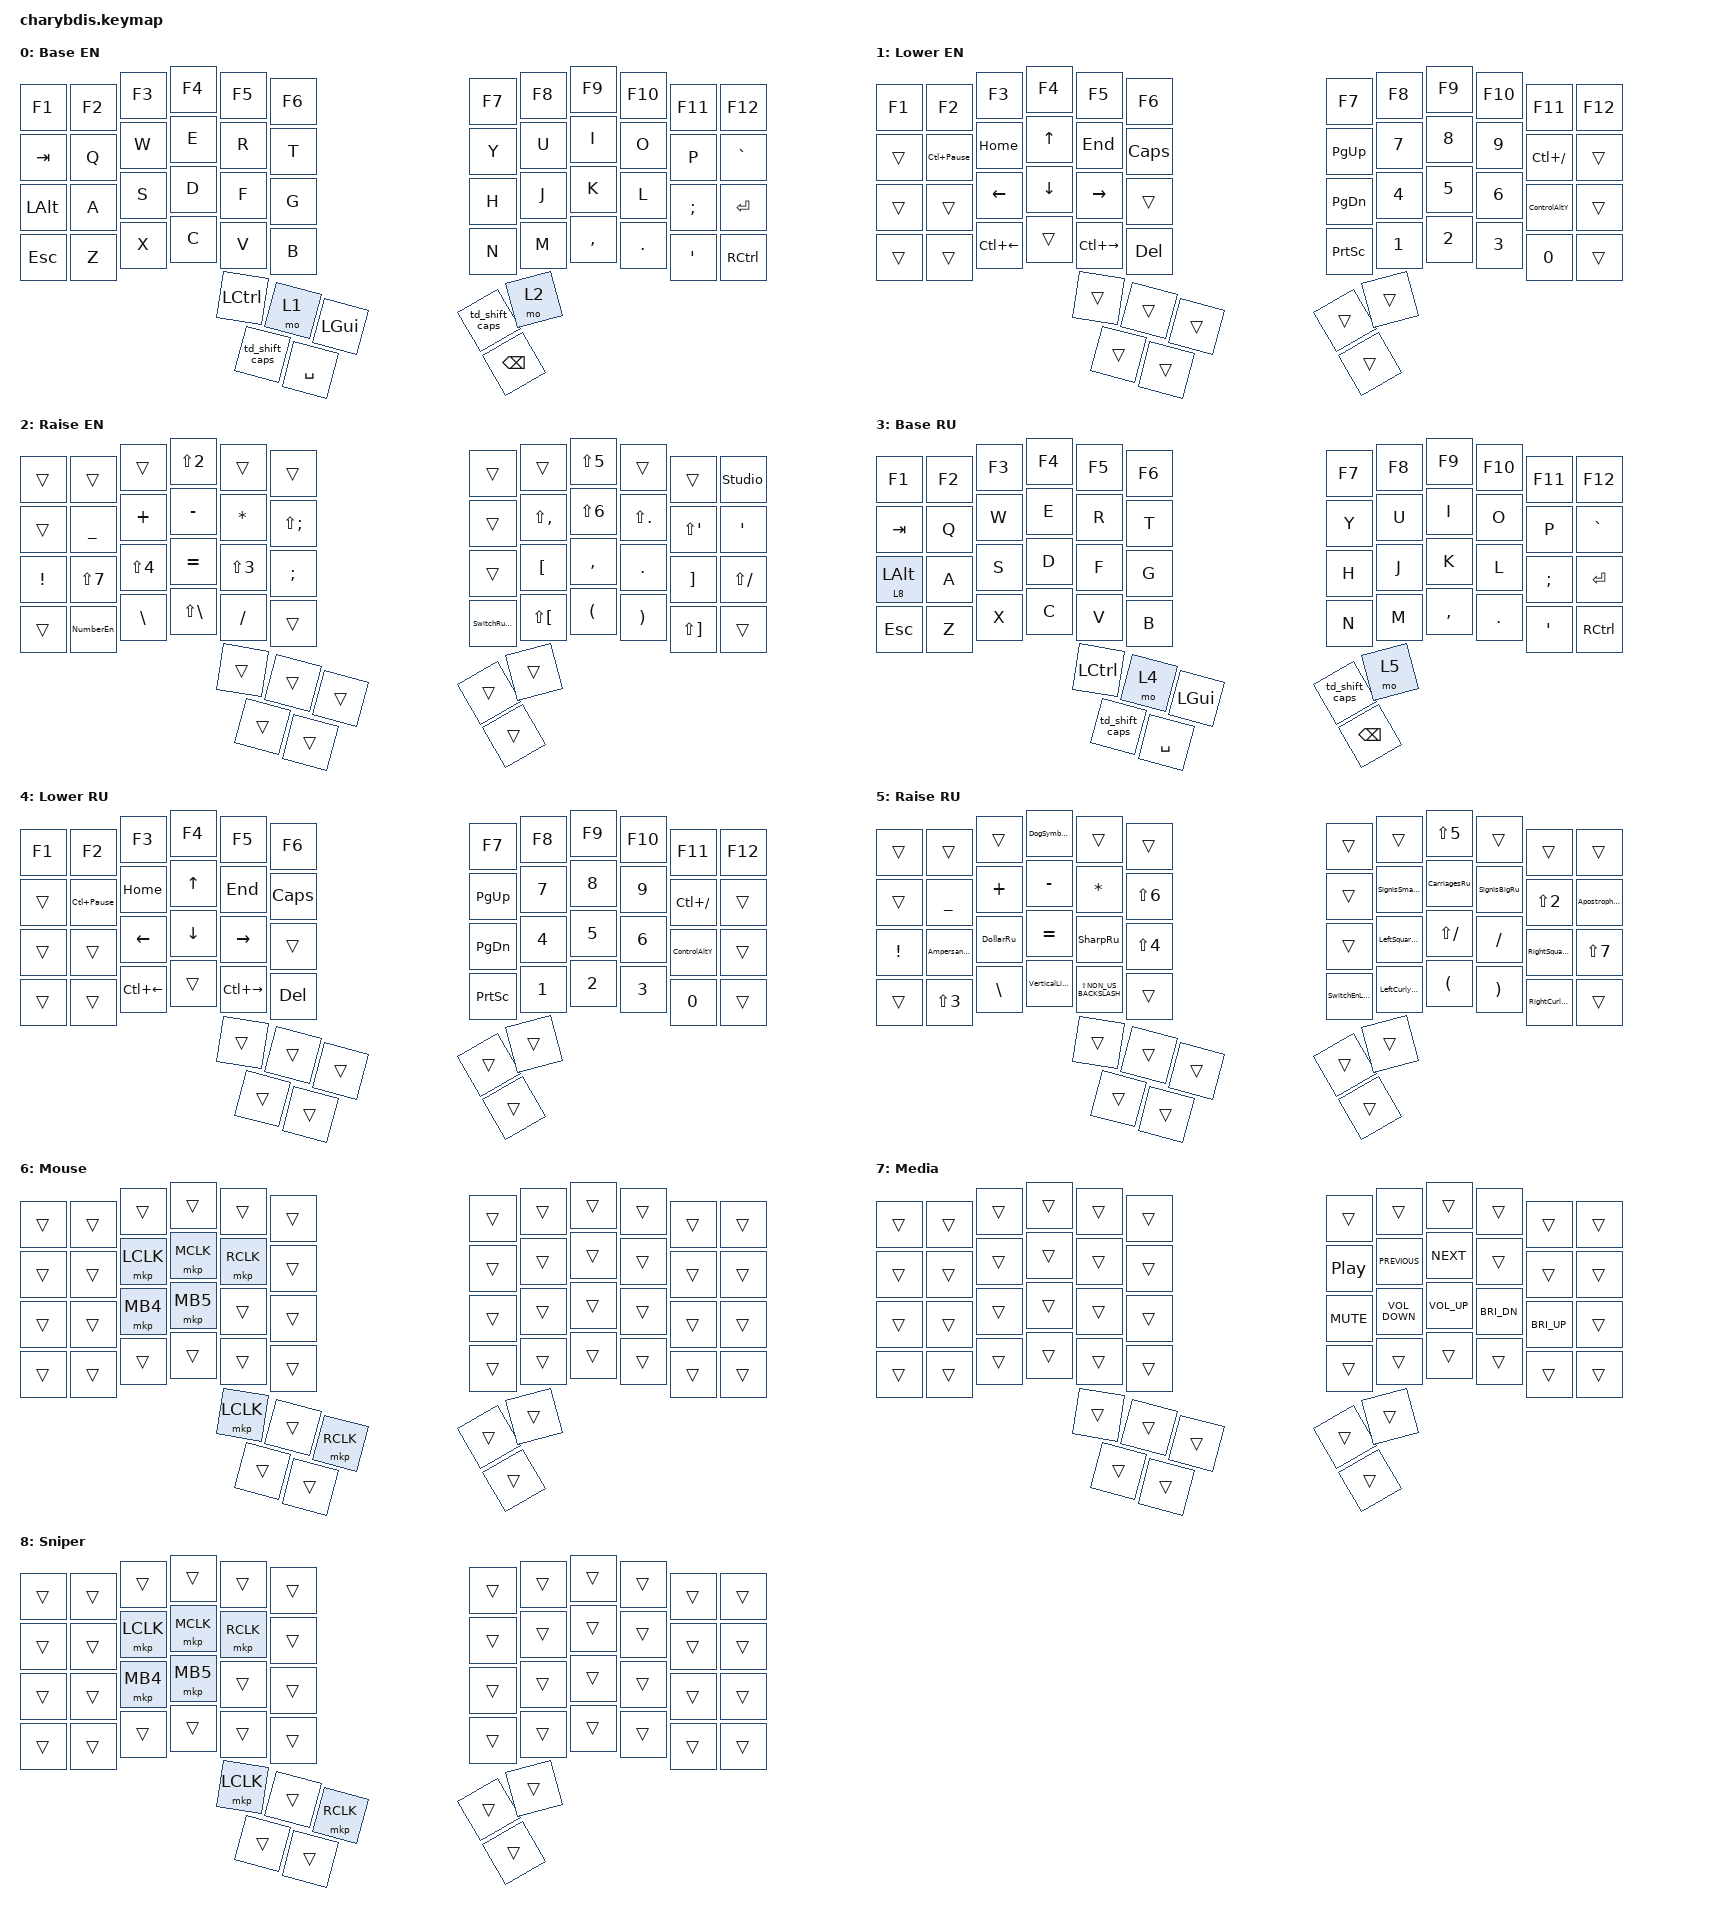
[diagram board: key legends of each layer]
#include <dt-bindings/zmk/mouse.h>
#include <dt-bindings/zmk/input_transform.h>
#include <behaviors.dtsi>
#include <dt-bindings/zmk/bt.h>
#include <dt-bindings/zmk/keys.h>
#include <dt-bindings/zmk/pointing.h>

/ {
    combos {
        compatible = "zmk,combos";

        bootloaderLeft {
            bindings = <&bootloader>;
            key-positions = <0 13>;
            require-prior-idle-ms = <2000>;
            timeout-ms = <30>;
        };

        bootloaderRight {
            bindings = <&bootloader>;
            key-positions = <11 22>;
            require-prior-idle-ms = <2000>;
            timeout-ms = <30>;
        };

        resetLeft {
            bindings = <&sys_reset>;
            key-positions = <0 12>;
            require-prior-idle-ms = <2000>;
            timeout-ms = <30>;
        };

        resetRight {
            bindings = <&sys_reset>;
            key-positions = <11 23>;
            require-prior-idle-ms = <2000>;
            timeout-ms = <30>;
        };

        btProfile0 {
            bindings = <&bt BT_SEL 0>;
            key-positions = <1 13>;
        };

        btProfile1 {
            bindings = <&bt BT_SEL 1>;
            key-positions = <2 14>;
        };

        btProfile2 {
            bindings = <&bt BT_SEL 2>;
            key-positions = <3 15>;
        };

        btClear {
            bindings = <&bt BT_CLR>;
            key-positions = <4 16>;
        };

        studioUnlock {
            bindings = <&studio_unlock>;
            key-positions = <0 4>;
            require-prior-idle-ms = <1000>;
            timeout-ms = <50>;
        };

        // х (LEFT_BRACKET in Russian layout)

        ruKha {
            bindings = <&kp LEFT_BRACKET>;
            key-positions = <27 28>;
            layers = <3 4 5>;
            timeout-ms = <50>;
            require-prior-idle-ms = <100>;
        };

        // ъ (RIGHT_BRACKET in Russian layout)

        ruHardSign {
            bindings = <&kp RIGHT_BRACKET>;
            key-positions = <31 32>;
            layers = <3 4 5>;
            timeout-ms = <50>;
            require-prior-idle-ms = <100>;
        };
    };

    behaviors {
        lt: layer_tap {
            compatible = "zmk,behavior-hold-tap";
            #binding-cells = <2>;
            flavor = "balanced";
            tapping-term-ms = <200>;
            quick-tap-ms = <150>;
            require-prior-idle-ms = <150>;
            bindings = <&mo>, <&kp>;
        };

        // Double-tap Shift = Caps Word (caps lock на 1 слово)

        td_shift_caps: tap_dance_shift_caps {
            compatible = "zmk,behavior-tap-dance";
            #binding-cells = <0>;
            tapping-term-ms = <200>;
            bindings = <&kp LEFT_SHIFT>, <&caps_word>;
        };

        // Alt + Sniper: tap = Alt, hold = Sniper layer

        alt_sniper: alt_sniper {
            compatible = "zmk,behavior-hold-tap";
            #binding-cells = <2>;
            flavor = "balanced";
            tapping-term-ms = <200>;
            quick-tap-ms = <150>;
            bindings = <&mo>, <&kp>;
        };
    };

    macros {
        default-wait-ms = <25>;
        default-tap-ms = <15>;

        ControlAltY: ControlAltY {
            compatible = "zmk,behavior-macro";
            #binding-cells = <0>;
            bindings =
                <&macro_press>,
                <&kp LEFT_CONTROL &kp LALT>,
                <&macro_tap>,
                <&kp E>,
                <&macro_release>,
                <&kp LEFT_CONTROL &kp LALT>;

        };

        DogSymbolRu: DogSymbolRu {
            compatible = "zmk,behavior-macro";
            #binding-cells = <0>;
            bindings =
                <&macro_tap>,
                <&kp LG(SPACE)>,
                <&macro_tap>,
                <&kp LS(NUMBER_2)>,
                <&macro_tap>,
                <&kp LG(SPACE)>;

        };

        DollarRu: DollarRu {
            compatible = "zmk,behavior-macro";
            #binding-cells = <0>;
            bindings =
                <&macro_tap>,
                <&kp LG(SPACE)>,
                <&macro_tap>,
                <&kp LS(NUMBER_4)>,
                <&macro_tap>,
                <&kp LG(SPACE)>;

        };

        SharpRu: SharpRu {
            compatible = "zmk,behavior-macro";
            #binding-cells = <0>;
            bindings =
                <&macro_tap>,
                <&kp LG(SPACE)>,
                <&macro_tap>,
                <&kp LS(NUMBER_3)>,
                <&macro_tap>,
                <&kp LG(SPACE)>;

        };

        VerticalLineRu: VerticalLineRu {
            compatible = "zmk,behavior-macro";
            #binding-cells = <0>;
            bindings =
                <&macro_tap>,
                <&kp LG(SPACE)>,
                <&macro_tap>,
                <&kp LS(BACKSLASH)>,
                <&macro_tap>,
                <&kp LG(SPACE)>;

        };

        AmpersandRu: AmpersandRu {
            compatible = "zmk,behavior-macro";
            #binding-cells = <0>;
            bindings =
                <&macro_tap>,
                <&kp LG(SPACE)>,
                <&macro_tap>,
                <&kp LS(NUMBER_7)>,
                <&macro_tap>,
                <&kp LG(SPACE)>;

        };

        NumberEn: NumberEn {
            compatible = "zmk,behavior-macro";
            #binding-cells = <0>;
            bindings =
                <&macro_tap>,
                <&kp LG(SPACE)>,
                <&macro_tap>,
                <&kp LS(NUMBER_3)>,
                <&macro_tap>,
                <&kp LG(SPACE)>;

        };

        SignIsSmallerRu: SignIsSmallerRu {
            compatible = "zmk,behavior-macro";
            #binding-cells = <0>;
            bindings =
                <&macro_tap>,
                <&kp LG(SPACE)>,
                <&macro_tap>,
                <&kp LS(COMMA)>,
                <&macro_tap>,
                <&kp LG(SPACE)>;

        };

        CarriagesRu: CarriagesRu {
            compatible = "zmk,behavior-macro";
            #binding-cells = <0>;
            bindings =
                <&macro_tap>,
                <&kp LG(SPACE)>,
                <&macro_tap>,
                <&kp LS(NUMBER_6)>,
                <&macro_tap>,
                <&kp LG(SPACE)>;

        };

        SignIsBigRu: SignIsBigRu {
            compatible = "zmk,behavior-macro";
            #binding-cells = <0>;
            bindings =
                <&macro_tap>,
                <&kp LG(SPACE)>,
                <&macro_tap>,
                <&kp LS(PERIOD)>,
                <&macro_tap>,
                <&kp LG(SPACE)>;

        };

        LeftSquareBracketRu: LeftSquareBracketRu {
            compatible = "zmk,behavior-macro";
            #binding-cells = <0>;
            bindings =
                <&macro_tap>,
                <&kp LG(SPACE)>,
                <&macro_tap>,
                <&kp LEFT_BRACKET>,
                <&macro_tap>,
                <&kp LG(SPACE)>;

        };

        RightSquareBracketRu: RightSquareBracketRu {
            compatible = "zmk,behavior-macro";
            #binding-cells = <0>;
            bindings =
                <&macro_tap>,
                <&kp LG(SPACE)>,
                <&macro_tap>,
                <&kp RIGHT_BRACKET>,
                <&macro_tap>,
                <&kp LG(SPACE)>;

        };

        ApostropheRu: ApostropheRu {
            compatible = "zmk,behavior-macro";
            #binding-cells = <0>;
            bindings =
                <&macro_tap>,
                <&kp LG(SPACE)>,
                <&macro_tap>,
                <&kp SQT>,
                <&macro_tap>,
                <&kp LG(SPACE)>;

        };

        LeftCurlyBraceRu: LeftCurlyBraceRu {
            compatible = "zmk,behavior-macro";
            #binding-cells = <0>;
            bindings =
                <&macro_tap>,
                <&kp LG(SPACE)>,
                <&macro_tap>,
                <&kp LS(LEFT_BRACKET)>,
                <&macro_tap>,
                <&kp LG(SPACE)>;

        };

        RightCurlyBraceRu: RightCurlyBraceRu {
            compatible = "zmk,behavior-macro";
            #binding-cells = <0>;
            bindings =
                <&macro_tap>,
                <&kp LG(SPACE)>,
                <&macro_tap>,
                <&kp LS(RIGHT_BRACKET)>,
                <&macro_tap>,
                <&kp LG(SPACE)>;

        };

        SwitchEnLanguage: SwitchEnLanguage {
            compatible = "zmk,behavior-macro";
            #binding-cells = <0>;
            bindings = <&macro_tap>, <&kp LG(SPACE)>, <&macro_tap>, <&to 0>;

        };

        SwitchRuLanguage: SwitchRuLanguage {
            compatible = "zmk,behavior-macro";
            #binding-cells = <0>;
            bindings = <&macro_tap>, <&kp LG(SPACE)>, <&macro_tap>, <&to 3>;

        };

        toggle_lang_layer: toggle_lang_layer {
            compatible = "zmk,behavior-macro";
            #binding-cells = <0>;
            bindings = <&macro_tap>, <&kp LG(SPACE)>, <&macro_tap>, <&tog 3>;

        };
    };

    conditional_layers {
        compatible = "zmk,conditional-layers";

        // EN: Lower + Raise = Media

        tri_layer_en {
            if-layers = <1 2>;
            then-layer = <7>;
        };

        // RU: Lower + Raise = Media

        tri_layer_ru {
            if-layers = <4 5>;
            then-layer = <7>;
        };
    };

    keymap {
        compatible = "zmk,keymap";

        BaseEn {
            display-name = "Base EN";
            bindings = <
&kp F1        &kp F2  &kp F3  &kp F4            &kp F5          &kp F6          &kp F7          &kp F8  &kp F9     &kp F10  &kp F11           &kp F12
&kp TAB       &kp Q   &kp W   &kp E             &kp R           &kp T           &kp Y           &kp U   &kp I      &kp O    &kp P             &kp GRAVE
&kp LEFT_ALT  &kp A   &kp S   &kp D             &kp F           &kp G           &kp H           &kp J   &kp K      &kp L    &kp SEMI          &kp ENTER
&kp ESC       &kp Z   &kp X   &kp C             &kp V           &kp B           &kp N           &kp M   &kp COMMA  &kp DOT  &kp SINGLE_QUOTE  &kp RIGHT_CONTROL
                              &kp LEFT_CONTROL  &mo 1           &kp LEFT_GUI    &td_shift_caps  &mo 2
                                                &td_shift_caps  &kp SPACE       &kp BSPC
            >;
        };

        LowerEn {
            display-name = "Lower EN";
            bindings = <
&kp F1  &kp F2               &kp F3          &kp F4          &kp F5           &kp F6          &kp F7           &kp F8  &kp F9  &kp F10  &kp F11        &kp F12
&trans  &kp LC(PAUSE_BREAK)  &kp HOME        &kp UP_ARROW    &kp END          &kp CAPSLOCK    &kp PAGE_UP      &kp N7  &kp N8  &kp N9   &kp LC(SLASH)  &trans
&trans  &trans               &kp LEFT_ARROW  &kp DOWN_ARROW  &kp RIGHT_ARROW  &trans          &kp PAGE_DOWN    &kp N4  &kp N5  &kp N6   &ControlAltY   &trans
&trans  &trans               &kp LC(LEFT)    &trans          &kp LC(RIGHT)    &kp DELETE      &kp PRINTSCREEN  &kp N1  &kp N2  &kp N3   &kp N0         &trans
                                             &trans          &trans           &trans          &trans           &trans
                                                             &trans           &trans          &trans
            >;
        };

        RaiseEn {
            display-name = "Raise EN";
            bindings = <
&trans           &trans            &trans            &kp LS(NUMBER_2)   &trans            &trans               &trans             &trans                &kp LS(NUMBER_5)      &trans                 &trans                 &studio_unlock
&trans           &kp UNDERSCORE    &kp PLUS          &kp MINUS          &kp ASTERISK      &kp LS(SEMICOLON)    &trans             &kp LS(COMMA)         &kp LS(N6)            &kp LS(PERIOD)         &kp LS(SQT)            &kp SQT
&kp EXCLAMATION  &kp LS(NUMBER_7)  &kp LS(NUMBER_4)  &kp EQUAL          &kp LS(NUMBER_3)  &kp SEMICOLON        &trans             &kp LEFT_BRACKET      &kp COMMA             &kp DOT                &kp RIGHT_BRACKET      &kp LS(SLASH)
&trans           &NumberEn         &kp BACKSLASH     &kp LS(BACKSLASH)  &kp SLASH         &trans               &SwitchRuLanguage  &kp LS(LEFT_BRACKET)  &kp LEFT_PARENTHESIS  &kp RIGHT_PARENTHESIS  &kp LS(RIGHT_BRACKET)  &trans
                                                     &trans             &trans            &trans               &trans             &trans
                                                                        &trans            &trans               &trans
            >;
        };

        Base {
            display-name = "Base RU";
            bindings = <
&kp F1                  &kp F2  &kp F3  &kp F4            &kp F5          &kp F6          &kp F7          &kp F8  &kp F9     &kp F10  &kp F11           &kp F12
&kp TAB                 &kp Q   &kp W   &kp E             &kp R           &kp T           &kp Y           &kp U   &kp I      &kp O    &kp P             &kp GRAVE
&alt_sniper 8 LEFT_ALT  &kp A   &kp S   &kp D             &kp F           &kp G           &kp H           &kp J   &kp K      &kp L    &kp SEMI          &kp ENTER
&kp ESC                 &kp Z   &kp X   &kp C             &kp V           &kp B           &kp N           &kp M   &kp COMMA  &kp DOT  &kp SINGLE_QUOTE  &kp RIGHT_CONTROL
                                        &kp LEFT_CONTROL  &mo 4           &kp LEFT_GUI    &td_shift_caps  &mo 5
                                                          &td_shift_caps  &kp SPACE       &kp BSPC
            >;
        };

        Lower {
            display-name = "Lower RU";
            bindings = <
&kp F1  &kp F2               &kp F3          &kp F4          &kp F5           &kp F6          &kp F7           &kp F8  &kp F9  &kp F10  &kp F11        &kp F12
&trans  &kp LC(PAUSE_BREAK)  &kp HOME        &kp UP_ARROW    &kp END          &kp CAPSLOCK    &kp PAGE_UP      &kp N7  &kp N8  &kp N9   &kp LC(SLASH)  &trans
&trans  &trans               &kp LEFT_ARROW  &kp DOWN_ARROW  &kp RIGHT_ARROW  &trans          &kp PAGE_DOWN    &kp N4  &kp N5  &kp N6   &ControlAltY   &trans
&trans  &trans               &kp LC(LEFT)    &trans          &kp LC(RIGHT)    &kp DELETE      &kp PRINTSCREEN  &kp N1  &kp N2  &kp N3   &kp N0         &trans
                                             &trans          &trans           &trans          &trans           &trans
                                                             &trans           &trans          &trans
            >;
        };

        Raise {
            display-name = "Raise RU";
            bindings = <
&trans           &trans            &trans         &DogSymbolRu     &trans                    &trans              &trans             &trans                &kp LS(NUMBER_5)      &trans                 &trans                 &trans
&trans           &kp UNDERSCORE    &kp PLUS       &kp MINUS        &kp ASTERISK              &kp LS(NUMBER_6)    &trans             &SignIsSmallerRu      &CarriagesRu          &SignIsBigRu           &kp LS(NUMBER_2)       &ApostropheRu
&kp EXCLAMATION  &AmpersandRu      &DollarRu      &kp EQUAL        &SharpRu                  &kp LS(NUMBER_4)    &trans             &LeftSquareBracketRu  &kp LS(SLASH)         &kp SLASH              &RightSquareBracketRu  &kp LS(NUMBER_7)
&trans           &kp LS(NUMBER_3)  &kp BACKSLASH  &VerticalLineRu  &kp LS(NON_US_BACKSLASH)  &trans              &SwitchEnLanguage  &LeftCurlyBraceRu     &kp LEFT_PARENTHESIS  &kp RIGHT_PARENTHESIS  &RightCurlyBraceRu     &trans
                                                  &trans           &trans                    &trans              &trans             &trans
                                                                   &trans                    &trans              &trans
            >;
        };

        Mouse {
            display-name = "Mouse";
            bindings = <
&trans  &trans  &trans     &trans     &trans     &trans       &trans  &trans  &trans  &trans  &trans  &trans
&trans  &trans  &mkp LCLK  &mkp MCLK  &mkp RCLK  &trans       &trans  &trans  &trans  &trans  &trans  &trans
&trans  &trans  &mkp MB4   &mkp MB5   &trans     &trans       &trans  &trans  &trans  &trans  &trans  &trans
&trans  &trans  &trans     &trans     &trans     &trans       &trans  &trans  &trans  &trans  &trans  &trans
                           &mkp LCLK  &trans     &mkp RCLK    &trans  &trans
                                      &trans     &trans       &trans
            >;
        };

        extra1 {
            display-name = "Media";
            bindings = <
&trans  &trans  &trans  &trans  &trans  &trans    &trans            &trans             &trans           &trans        &trans        &trans
&trans  &trans  &trans  &trans  &trans  &trans    &kp C_PLAY_PAUSE  &kp C_PREVIOUS     &kp C_NEXT       &trans        &trans        &trans
&trans  &trans  &trans  &trans  &trans  &trans    &kp C_MUTE        &kp C_VOLUME_DOWN  &kp C_VOLUME_UP  &kp C_BRI_DN  &kp C_BRI_UP  &trans
&trans  &trans  &trans  &trans  &trans  &trans    &trans            &trans             &trans           &trans        &trans        &trans
                        &trans  &trans  &trans    &trans            &trans
                                &trans  &trans    &trans
            >;
        };

        Sniper {
            display-name = "Sniper";
            bindings = <
&trans  &trans  &trans     &trans     &trans     &trans       &trans  &trans  &trans  &trans  &trans  &trans
&trans  &trans  &mkp LCLK  &mkp MCLK  &mkp RCLK  &trans       &trans  &trans  &trans  &trans  &trans  &trans
&trans  &trans  &mkp MB4   &mkp MB5   &trans     &trans       &trans  &trans  &trans  &trans  &trans  &trans
&trans  &trans  &trans     &trans     &trans     &trans       &trans  &trans  &trans  &trans  &trans  &trans
                           &mkp LCLK  &trans     &mkp RCLK    &trans  &trans
                                      &trans     &trans       &trans
            >;
        };
    };
};
